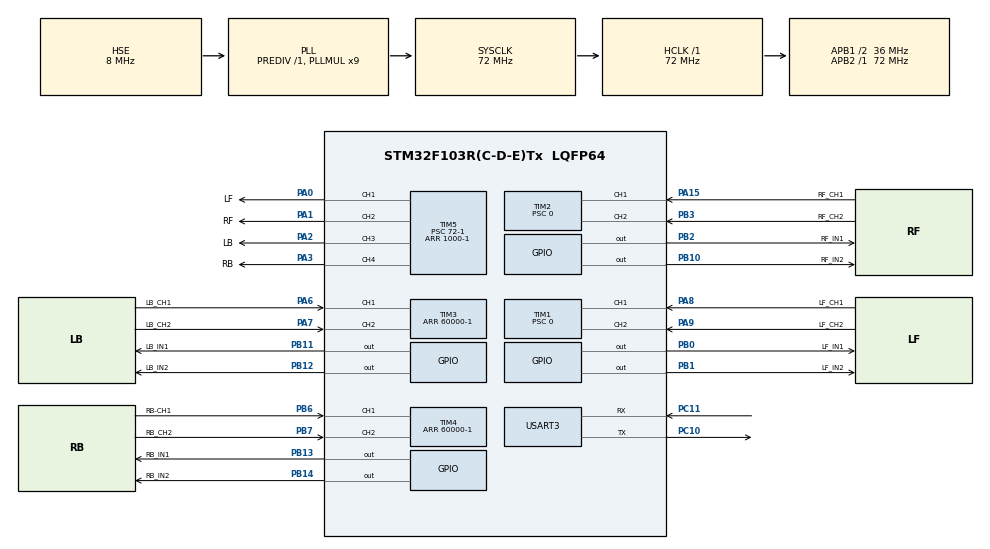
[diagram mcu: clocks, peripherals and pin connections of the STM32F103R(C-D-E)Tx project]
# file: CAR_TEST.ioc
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Mcu.Family=STM32F1
Mcu.Name=STM32F103R(C-D-E)Tx
Mcu.Package=LQFP64
NVIC.PriorityGroup=NVIC_PRIORITYGROUP_4
NVIC.USART3_IRQn=true\:0\:0\:false\:false\:true\:true\:true
PA0-WKUP.GPIO_Label=LF
PA0-WKUP.Signal=S_TIM5_CH1
PA1.GPIO_Label=RF
PA1.Signal=S_TIM5_CH2
PA13.Mode=Serial_Wire
PA13.Signal=SYS_JTMS-SWDIO
PA14.Mode=Serial_Wire
PA14.Signal=SYS_JTCK-SWCLK
PA15.GPIO_Label=RF_CH1
PA15.Signal=S_TIM2_CH1_ETR
PA2.GPIO_Label=LB
PA2.Signal=S_TIM5_CH3
PA3.GPIO_Label=RB
PA3.Signal=S_TIM5_CH4
PA6.GPIO_Label=LB_CH1
PA6.Signal=S_TIM3_CH1
PA7.GPIO_Label=LB_CH2
PA7.Signal=S_TIM3_CH2
PA8.GPIO_Label=LF_CH1
PA8.Signal=S_TIM1_CH1
PA9.GPIO_Label=LF_CH2
PA9.Signal=S_TIM1_CH2
PB0.GPIO_Label=LF_IN1
PB0.Signal=GPIO_Output
PB1.GPIO_Label=LF_IN2
PB1.Signal=GPIO_Output
PB10.GPIO_Label=RF_IN2
PB10.Signal=GPIO_Output
PB11.GPIO_Label=LB_IN1
PB11.Signal=GPIO_Output
PB12.GPIO_Label=LB_IN2
PB12.Signal=GPIO_Output
PB13.GPIO_Label=RB_IN1
PB13.Signal=GPIO_Output
PB14.GPIO_Label=RB_IN2
PB14.Signal=GPIO_Output
PB2.GPIO_Label=RF_IN1
PB2.Signal=GPIO_Output
PB3.GPIO_Label=RF_CH2
PB3.Signal=S_TIM2_CH2
PB6.GPIO_Label=RB-CH1
PB6.Signal=S_TIM4_CH1
PB7.GPIO_Label=RB_CH2
PB7.Signal=S_TIM4_CH2
PC10.Mode=Asynchronous
PC10.Signal=USART3_TX
PC11.Mode=Asynchronous
PC11.Signal=USART3_RX
PD0-OSC_IN.Mode=HSE-External-Oscillator
PD0-OSC_IN.Signal=RCC_OSC_IN
PD1-OSC_OUT.Mode=HSE-External-Oscillator
PD1-OSC_OUT.Signal=RCC_OSC_OUT
ProjectManager.HeapSize=0x200
ProjectManager.StackSize=0x400
ProjectManager.TargetToolchain=MDK-ARM V5.27
RCC.AHBFreq_Value=72000000
RCC.APB1CLKDivider=RCC_HCLK_DIV2
RCC.APB1Freq_Value=36000000
RCC.APB1TimFreq_Value=72000000
RCC.APB2Freq_Value=72000000
RCC.APB2TimFreq_Value=72000000
RCC.HCLKFreq_Value=72000000
RCC.PLLMUL=RCC_PLL_MUL9
RCC.PLLSourceVirtual=RCC_PLLSOURCE_HSE
RCC.SYSCLKFreq_VALUE=72000000
RCC.SYSCLKSource=RCC_SYSCLKSOURCE_PLLCLK
RCC.USBFreq_Value=72000000
SH.S_TIM1_CH1.0=TIM1_CH1,Encoder_Interface
SH.S_TIM1_CH2.0=TIM1_CH2,Encoder_Interface
SH.S_TIM2_CH1_ETR.0=TIM2_CH1,Encoder_Interface
SH.S_TIM2_CH2.0=TIM2_CH2,Encoder_Interface
SH.S_TIM3_CH1.0=TIM3_CH1,Encoder_Interface
SH.S_TIM3_CH2.0=TIM3_CH2,Encoder_Interface
SH.S_TIM4_CH1.0=TIM4_CH1,Encoder_Interface
SH.S_TIM4_CH2.0=TIM4_CH2,Encoder_Interface
SH.S_TIM5_CH1.0=TIM5_CH1,PWM Generation1 CH1
SH.S_TIM5_CH2.0=TIM5_CH2,PWM Generation2 CH2
SH.S_TIM5_CH3.0=TIM5_CH3,PWM Generation3 CH3
SH.S_TIM5_CH4.0=TIM5_CH4,PWM Generation4 CH4
TIM1.EncoderMode=TIM_ENCODERMODE_TI12
TIM1.Period=60000-1
TIM1.Prescaler=0
TIM2.EncoderMode=TIM_ENCODERMODE_TI12
TIM2.Period=60000-1
TIM2.Prescaler=0
TIM3.EncoderMode=TIM_ENCODERMODE_TI12
TIM3.Period=60000-1
TIM4.EncoderMode=TIM_ENCODERMODE_TI12
TIM4.Period=60000-1
TIM5.Channel-PWM\ Generation1\ CH1=TIM_CHANNEL_1
TIM5.Channel-PWM\ Generation2\ CH2=TIM_CHANNEL_2
TIM5.Channel-PWM\ Generation3\ CH3=TIM_CHANNEL_3
TIM5.Channel-PWM\ Generation4\ CH4=TIM_CHANNEL_4
TIM5.Period=1000-1
TIM5.Prescaler=72-1
USART3.VirtualMode=VM_ASYNC
VP_TIM5_VS_ClockSourceINT.Mode=Internal
board=custom

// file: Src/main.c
/* USER CODE BEGIN Header */
/*  @Descripttion: @version: 1.0 @Author: hxk @Date: 2020-10-03 14:13:55 @LastEd
 * itors: hxk @LastEditTime: 2020-10-04 12:57:48

 */
/* USER CODE END Header */

/* Includes ------------------------------------------------------------------ */
#include "main.h"
#include "tim.h"
#include "usart.h"
#include "gpio.h"

/* Private includes ---------------------------------------------------------- */
/* USER CODE BEGIN Includes */
#include "control.h"
#include "protocol.h"
/* USER CODE END Includes */

/* Private typedef ----------------------------------------------------------- */

/* Private define ------------------------------------------------------------ */

/* Private macro ------------------------------------------------------------- */
/* USER CODE BEGIN PM */
//串口中断接收缓冲区
uint8_t aRx;
uint8_t aRxbuffer[255];
uint8_t aRxCount = 0;
//控制启动Systick中断
int Time_flag = 0;
/* USER CODE END PM */

/* Private variables --------------------------------------------------------- */

/* Private function prototypes ----------------------------------------------- */
void SystemClock_Config(void);

/* Private user code --------------------------------------------------------- */

int main(void) {

    /* MCU Configuration-------------------------------------------------------- */

    /* Reset of all peripherals, Initializes the Flash interface and the Systick. */
    HAL_Init();

    /* Configure the system clock */
    SystemClock_Config();

    /* Initialize all configured peripherals */
    MX_GPIO_Init();
    MX_TIM2_Init();
    MX_TIM1_Init();
    MX_TIM3_Init();
    MX_TIM4_Init();
    MX_TIM5_Init();
    MX_USART3_UART_Init();
    /* USER CODE BEGIN 2 */
    // 初始化PID调试助手结构体
    protocol_init();
    //初始化PWM输出
    PWM_Init();
    //初始化编码器
    Encoder_Init();
    //初始化串口中断接收
    HAL_UART_Receive_IT(& huart3, (uint8_t *) & aRx, 1);
    // 向上位机发送启动指令 set_computer_value(SEND_START_CMD, CURVES_CH1, NULL, 0);
    // 启动Systick中断处理

		HAL_Delay(100);
		Time_flag = 1;
		Remoter(50);
    /* USER CODE END 2 */

    /* Infinite loop */
    while (1) {

        /* USER CODE BEGIN 3 */
        printf("l1=%d,l2=%d,l3=%d,l4=%d\r\n", speed_now_LF,speed_now_RF,speed_now_LB,speed_now_RB);
        HAL_Delay(50);
        // receiving_process(); SendData();
    }
    /* USER CODE END 3 */
}

void SystemClock_Config(void) {
    RCC_OscInitTypeDef RCC_OscInitStruct = {
        0
    };
    RCC_ClkInitTypeDef RCC_ClkInitStruct = {
        0
    };

    /** Initializes the CPU, AHB and APB busses clocks
  */
    RCC_OscInitStruct.OscillatorType = RCC_OSCILLATORTYPE_HSE;
    RCC_OscInitStruct.HSEState = RCC_HSE_ON;
    RCC_OscInitStruct.HSEPredivValue = RCC_HSE_PREDIV_DIV1;
    RCC_OscInitStruct.HSIState = RCC_HSI_ON;
    RCC_OscInitStruct.PLL.PLLState = RCC_PLL_ON;
    RCC_OscInitStruct.PLL.PLLSource = RCC_PLLSOURCE_HSE;
    RCC_OscInitStruct.PLL.PLLMUL = RCC_PLL_MUL9;
    if (HAL_RCC_OscConfig(& RCC_OscInitStruct) != HAL_OK) {
        Error_Handler();
    }
    /** Initializes the CPU, AHB and APB busses clocks
  */
    RCC_ClkInitStruct.ClockType = RCC_CLOCKTYPE_HCLK | RCC_CLOCKTYPE_SYSCLK | RCC_CLOCKTYPE_PCLK1 | RCC_CLOCKTYPE_PCLK2;
    RCC_ClkInitStruct.SYSCLKSource = RCC_SYSCLKSOURCE_PLLCLK;
    RCC_ClkInitStruct.AHBCLKDivider = RCC_SYSCLK_DIV1;
    RCC_ClkInitStruct.APB1CLKDivider = RCC_HCLK_DIV2;
    RCC_ClkInitStruct.APB2CLKDivider = RCC_HCLK_DIV1;

    if (HAL_RCC_ClockConfig(& RCC_ClkInitStruct, FLASH_LATENCY_2) != HAL_OK) {
        Error_Handler();
    }
}

/* USER CODE BEGIN 4 */
void HAL_UART_RxCpltCallback(UART_HandleTypeDef * huart) {
    //将接受到的数据发送给协议解析函数
    protocol_data_recv(&aRx, 1);
    HAL_UART_Receive_IT(& huart3, (uint8_t *) & aRx, 1);
}

void HAL_SYSTICK_Callback(void) {
    if (1) {
        count_time++;
        // 50ms时进入
        if (count_time == 50) {
            //读取编码器数据
            ReadEncoder();
            //PID计算输出控制量
            PID_Calculate();
            //驱动电机
            Motor();
            //清零计数值
            count_time = 0;
        }
    }
}
/* USER CODE END 4 */

void Error_Handler(void) {
}

/************************ (C) COPYRIGHT STMicroelectronics *****END OF FILE****/
